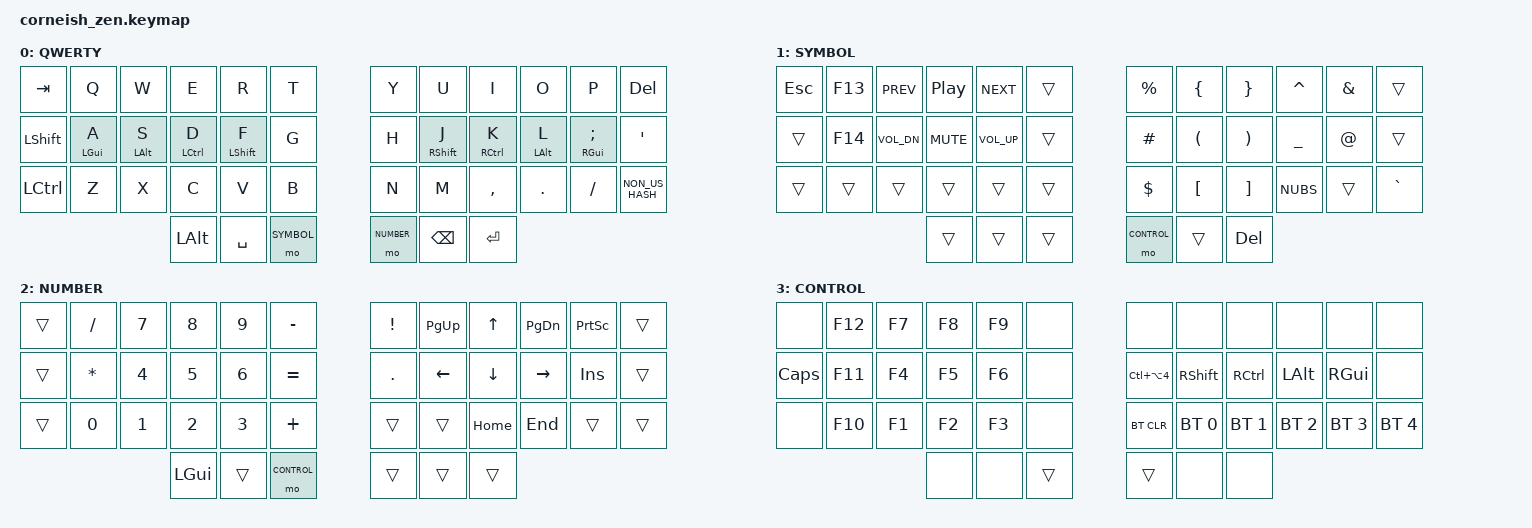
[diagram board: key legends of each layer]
#include <behaviors.dtsi>
#include <dt-bindings/zmk/keys.h>
#include <dt-bindings/zmk/bt.h>

#define BASE 0
#define SYMBOL 1
#define NUMBER 2
#define CONTROL 3

/ {
  chosen {
    zmk,matrix_transform = &default_transform;
    //zmk,matrix_transform = &five_column_transform;
  };
};

/ {

  behaviors {
    hm: homerow_mods {
      compatible = "zmk,behavior-hold-tap";
      label = "HOMEROW_MODS";
      #binding-cells = <2>;
      tapping-term-ms = <200>;
      quick-tap-ms = <0>;
      flavor = "tap-preferred";
      bindings = <&kp>, <&kp>;
    };
  };

  keymap {
    compatible = "zmk,keymap";

    Base_layer {
      label = "QWERTY";
      bindings = <
        //-----------------------------------------------------------------------------------------------------|-------------------------------------------------------------------------------------------------------------
        &kp TAB        &kp Q          &kp W          &kp E          &kp R          &kp T                                          &kp Y          &kp U          &kp I          &kp O          &kp P          &kp DEL
        &kp LSHFT      &hm LGUI A     &hm LALT S     &hm LCTRL D    &hm LSHFT F    &kp G                                          &kp H          &hm RSHFT J    &hm RCTRL K    &hm LALT L     &hm RGUI SEMI  &kp SQT
        &kp LCTRL      &kp Z          &kp X          &kp C          &kp V          &kp B                                          &kp N          &kp M          &kp COMMA      &kp DOT        &kp SLASH      &kp NON_US_HASH
                                                                    &kp LALT       &kp SPACE      &mo SYMBOL       &mo NUMBER     &kp BSPC       &kp RETURN 
        //-----------------------------------------------------------------------------------------------------|-------------------------------------------------------------------------------------------------------------
      >;
    };

    Symbol_layer {
      label = "SYMBOL";
      bindings = <
        //-----------------------------------------------------------------------------------------------------|-------------------------------------------------------------------------------------------------------------
        &kp ESC        &kp F13        &kp C_PREV     &kp C_PP       &kp C_NEXT     &trans                                         &kp PERCENT    &kp LBRC       &kp RBRC       &kp CARET      &kp AMPS       &trans 
        &trans         &kp F14        &kp C_VOL_DN   &kp C_MUTE     &kp C_VOL_UP   &trans                                         &kp HASH       &kp LPAR       &kp RPAR       &kp UNDER      &kp AT        &trans
        &trans         &trans         &trans         &trans         &trans         &trans                                         &kp DOLLAR     &kp LBKT       &kp RBKT       &kp NUBS       &trans         &kp GRAVE 
                                                                    &trans         &trans         &trans           &mo CONTROL    &trans         &kp DEL 
        //-----------------------------------------------------------------------------------------------------|-------------------------------------------------------------------------------------------------------------
      >;
    };

    Number_layer {
      label = "NUMBER";
      bindings = <
        //-----------------------------------------------------------------------------------------------------|-------------------------------------------------------------------------------------------------------------
        &trans         &kp SLASH      &kp N7         &kp N8         &kp N9         &kp MINUS                                      &kp EXCL       &kp PG_UP      &kp UP         &kp PG_DN      &kp PSCRN      &trans 
        &trans         &kp STAR       &kp N4         &kp N5         &kp N6         &kp EQUAL                                      &kp DOT        &kp LEFT       &kp DOWN       &kp RIGHT      &kp INSERT     &trans 
        &trans         &kp N0         &kp N1         &kp N2         &kp N3         &kp PLUS                                       &trans         &trans         &kp HOME       &kp END        &trans         &trans 
                                                                    &kp LGUI       &trans         &mo CONTROL      &trans         &trans         &trans 
        //-----------------------------------------------------------------------------------------------------|-------------------------------------------------------------------------------------------------------------
      >;
    };

    Control_layer {
      label = "CONTROL";
      bindings = <
        //-----------------------------------------------------------------------------------------------------|-------------------------------------------------------------------------------------------------------------
        &none          &kp F12        &kp F7         &kp F8         &kp F9         &none                                          &none          &none          &none          &none          &none          &none 
        &kp CAPS       &kp F11        &kp F4         &kp F5         &kp F6         &none                                          &kp LC(LA(N4)) &kp RSHFT      &kp RCTRL      &kp LALT       &kp RGUI       &none 
        &none          &kp F10        &kp F1         &kp F2         &kp F3         &none                                          &bt BT_CLR     &bt BT_SEL 0   &bt BT_SEL 1   &bt BT_SEL 2   &bt BT_SEL 3   &bt BT_SEL 4 
                                                                    &none          &none          &trans           &trans         &none          &none
        //-----------------------------------------------------------------------------------------------------|-------------------------------------------------------------------------------------------------------------
      >;
    };

  };

};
